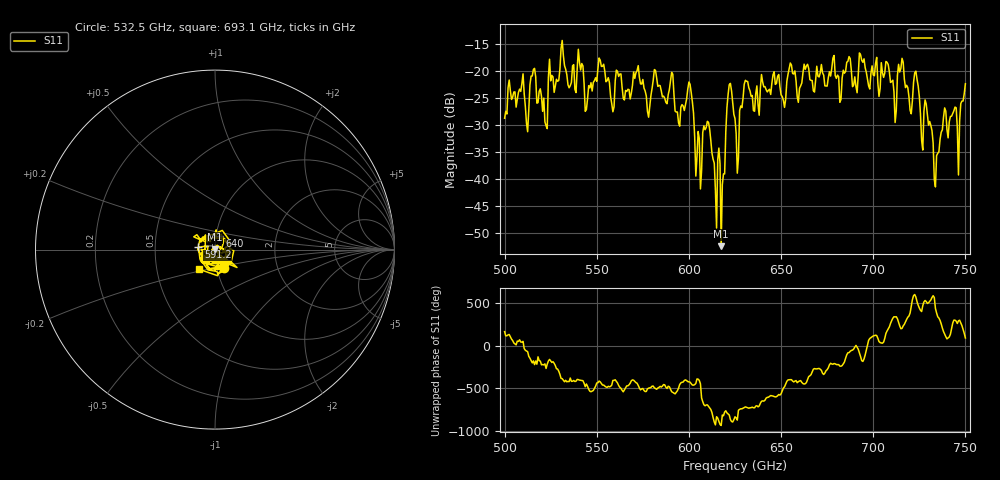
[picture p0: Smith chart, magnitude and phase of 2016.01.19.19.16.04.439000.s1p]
!Created with skrf (http://scikit-rf.org).
# GHz S RI R 50.0
!freq ReS11 ImS11
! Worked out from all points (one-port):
!   401 points, 500 GHz to 750 GHz, reference 50 ohm
!   lowest |S11| = -52.4 dB at 617.5 GHz (marker M1), VSWR 1.00, Z = 49.8 + j0.139 ohm
!   |S11| at or under -10 dB: start of sweep to end of sweep
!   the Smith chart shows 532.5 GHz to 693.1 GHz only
!   S11 on the Smith chart (normalised r, x): 532.5 GHz: 1.08, -0.22; 591.2 GHz: 0.83, +0.02; 640 GHz: 1.04, +0.16; 693.1 GHz: 0.82, -0.18
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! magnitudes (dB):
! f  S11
! 500 GHz  -28.8
! 508.8 GHz  -23.8
! 511.9 GHz  -29.7
! 515.6 GHz  -19.8
! 521.9 GHz  -29.4
! 531.2 GHz  -14.4
! 532.5 GHz  -19.1
! 545 GHz  -25.2
! 562.5 GHz  -20.6
! 591.2 GHz  -20.6
! 593.8 GHz  -27.6
! 600.6 GHz  -22.5
! 605 GHz  -31.2
! 610 GHz  -29.3
! 617.5 GHz  -52.4
! 621.9 GHz  -22.6
! 625 GHz  -28.8
! 631.2 GHz  -21.9
! 640 GHz  -22.1
! 656.2 GHz  -20.5
! 687.5 GHz  -17.8
! 693.1 GHz  -17.0
! 718.8 GHz  -23.1
! 723.8 GHz  -21.6
! 734.4 GHz  -35.7
! 738.1 GHz  -28.6
! 746.9 GHz  -29.2
! 750 GHz  -22.4
